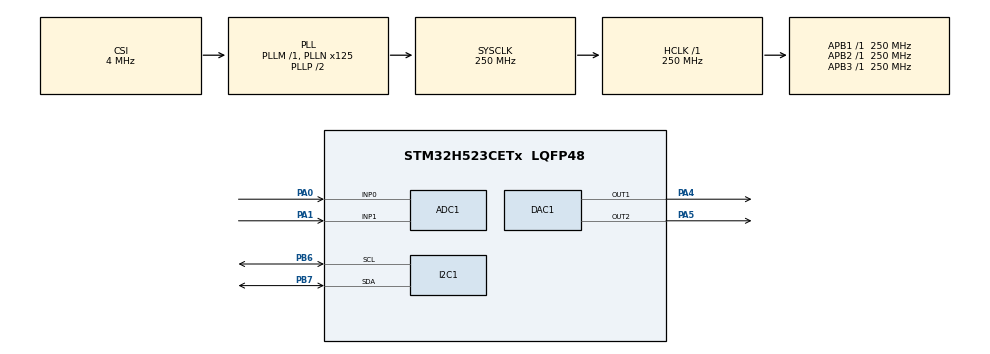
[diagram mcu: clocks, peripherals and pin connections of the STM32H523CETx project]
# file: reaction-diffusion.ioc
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ADC1.Channel-3\#ChannelRegularConversion=ADC_CHANNEL_1
ADC1.MonitoredBy-3\#ChannelRegularConversion=__NULL
ADC1.NbrOfConversionFlag=1
ADC1.OffsetNumber-3\#ChannelRegularConversion=ADC_OFFSET_NONE
ADC1.Rank-3\#ChannelRegularConversion=1
ADC1.SamplingTime-3\#ChannelRegularConversion=ADC_SAMPLETIME_2CYCLES_5
ADC1.master=1
BOOTPATH.BootPathName=LEGACY
BOOTPATH.UserSelectedBootPath=LEGACY
CORTEX_M33_NS.userName=CORTEX_M33
DAC1.DAC_Channel-DAC_OUT1_Ext=DAC_CHANNEL_1
DAC1.DAC_Channel-DAC_OUT2_Ext=DAC_CHANNEL_2
I2C1.Timing=0x60808CD3
Mcu.Family=STM32H5
Mcu.Name=STM32H523CETx
Mcu.Package=LQFP48
NVIC.PriorityGroup=NVIC_PRIORITYGROUP_4
NVIC.TIM6_IRQn=true\:0\:0\:false\:false\:true\:true\:true\:true
PA0.Signal=ADCx_INP0
PA1.Signal=ADCx_INP1
PA4.Signal=COMP_DAC11_group
PA5.Signal=COMP_DAC12_group
PB6.Mode=I2C
PB6.Signal=I2C1_SCL
PB7.Mode=I2C
PB7.Signal=I2C1_SDA
ProjectManager.HeapSize=0x200
ProjectManager.StackSize=0x400
ProjectManager.TargetToolchain=STM32CubeIDE
RCC.ADCFreq_Value=250000000
RCC.AHBFreq_Value=250000000
RCC.APB1Freq_Value=250000000
RCC.APB1TimFreq_Value=250000000
RCC.APB2Freq_Value=250000000
RCC.APB2TimFreq_Value=250000000
RCC.APB3Freq_Value=250000000
RCC.CSI_VALUE=4000000
RCC.CortexFreq_Value=250000000
RCC.DACLowPowerCLockSelection=RCC_DACLPCLKSOURCE_LSI
RCC.EPOD_VALUE=4000000
RCC.HCLKFreq_Value=250000000
RCC.HSE_VALUE=25000000
RCC.HSI48_VALUE=48000000
RCC.HSIDiv=RCC_HSI_DIV1
RCC.HSI_VALUE=64000000
RCC.LSE_VALUE=32768
RCC.LSIRC_VALUE=32000
RCC.PLLFRACN=0
RCC.PLLN=125
RCC.SYSCLKFreq_VALUE=250000000
RCC.SYSCLKSource=RCC_SYSCLKSOURCE_PLLCLK
RCC.USBFreq_Value=48000000
RCC.VCOOutputFreq_Value=500000000
SH.ADCx_INP0.0=ADC1_INP0,IN0-Single-Ended
SH.ADCx_INP1.0=ADC1_INP1,IN1-Single-Ended
SH.COMP_DAC11_group.0=DAC1_OUT1,DAC_OUT1_Ext
SH.COMP_DAC12_group.0=DAC1_OUT2,DAC_OUT2_Ext
TIM6.PeriodNoDither=4999
TIM6.Prescaler=249
VP_BOOTPATH_VS_BOOTPATH.Mode=BP_Activate
VP_CORTEX_M33_NS_VS_Hclk.Mode=Hclk_Mode
VP_MEMORYMAP_VS_MEMORYMAP.Mode=CurAppReg
VP_PWR_VS_LPOM.Mode=PowerOptimisation
VP_PWR_VS_SECSignals.Mode=Security/Privilege
VP_TIM6_VS_ClockSourceINT.Mode=Enable_Timer
board=custom

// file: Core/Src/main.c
/* USER CODE BEGIN Header */
/**
  ******************************************************************************
  * @file           : main.c
  * @brief          : Main program body
  ******************************************************************************
  * @attention
  *
  * Copyright (c) 2026 STMicroelectronics.
  * All rights reserved.
  *
  * This software is licensed under terms that can be found in the LICENSE file
  * in the root directory of this software component.
  * If no LICENSE file comes with this software, it is provided AS-IS.
  *
  ******************************************************************************
  */
/* USER CODE END Header */

#include "main.h"

/* USER CODE BEGIN Includes */
#include <math.h>
#include <stdlib.h>
#include <stdbool.h>
#include <stdint.h>
#include <stdio.h>
#include "rd_model.h"
#include "ssd1306.h"
#include "ssd1306_fonts.h"
/* USER CODE END Includes */

/* USER CODE BEGIN PD */
#define RD_GAIN_MV_PER_MV      (1200.0f)
#define RD_OFFSET_MV           (1700.0f)
#define VDDA_MV                (3300.0f)
#define DAC_BITS               (12)
#define DAC_MAX                ((1U << DAC_BITS) - 1U)
#define RD_BLOCK_MAX_SAMPLES   8192

#if defined(RD_SOLVER_RK4)
  #define RD_METHOD_STR "RK4"
#elif defined(RD_SOLVER_TUSTIN)
  #define RD_METHOD_STR "TUS"
#else
  #define RD_METHOD_STR "???"
#endif
/* USER CODE END PD */

ADC_HandleTypeDef hadc1;
DAC_HandleTypeDef hdac1;
I2C_HandleTypeDef hi2c1;
TIM_HandleTypeDef htim6;

/* USER CODE BEGIN PV */
static RDParams params;
static RDContext rdCtx;

/* two buffers */
static uint16_t *bufA = NULL;
static uint16_t *bufB = NULL;

/* playback side: ISR-owned */
static uint16_t * volatile playBuf = NULL;
static volatile int playLen = 0;
static volatile int playIndex = 0;

/* build side: main-loop-owned */
static uint16_t *buildBuf = NULL;
static int buildLen = 0;

/* flags */
static volatile bool block_wrap_flag = false;
static volatile bool build_request_flag = false;
static volatile bool swap_pending = false;
static volatile bool underrun_flag = false;

static uint16_t refDacCode = 0;

static int last_adc_sig = 0;
static int last_adc_ref = 0;
static int last_adc_diff = 0;

static uint32_t build_time_ms = 0;
static uint32_t blocks_built = 0;
/* USER CODE END PV */

void SystemClock_Config(void);
static void MX_GPIO_Init(void);
static void MX_ADC1_Init(void);
static void MX_DAC1_Init(void);
static void MX_I2C1_Init(void);
static void MX_TIM6_Init(void);

/* USER CODE BEGIN PFP */
static uint16_t rd_mv_to_dac(float mv);
static bool build_block_into_buffer(uint16_t *dst, int max_len, int *out_len);
static uint16_t read_adc_channel(uint32_t channel);
static void oled_show_build_info(void);
static void oled_show_error(const char *msg);
static const char* rd_solver_name(void);
void HAL_TIM_PeriodElapsedCallback(TIM_HandleTypeDef *htim);
/* USER CODE END PFP */

/* USER CODE BEGIN 0 */

static const char* rd_solver_name(void)
{
  return RD_METHOD_STR;
}

static uint16_t rd_mv_to_dac(float mv)
{
  float v_mv = RD_OFFSET_MV + RD_GAIN_MV_PER_MV * mv;

  if (v_mv < 0.0f) v_mv = 0.0f;
  if (v_mv > VDDA_MV) v_mv = VDDA_MV;

  int code = (int)lroundf((v_mv / VDDA_MV) * (float)DAC_MAX);
  if (code < 0) code = 0;
  if (code > (int)DAC_MAX) code = (int)DAC_MAX;
  return (uint16_t)code;
}

static bool build_block_into_buffer(uint16_t *dst, int max_len, int *out_len)
{
  float *rdBlockMv = NULL;
  int len = 0;

  if ((dst == NULL) || (out_len == NULL)) {
    return false;
  }

  if (!build_rd_block_mv(&params, &rdBlockMv, &len, &rdCtx)) {
    return false;
  }

  if ((len <= 0) || (len > max_len)) {
    if (rdBlockMv) free(rdBlockMv);
    return false;
  }

  for (int i = 0; i < len; i++) {
    if (!isfinite(rdBlockMv[i])) {
      free(rdBlockMv);
      return false;
    }
    dst[i] = rd_mv_to_dac(rdBlockMv[i]);
  }

  *out_len = len;
  free(rdBlockMv);
  return true;
}

static uint16_t read_adc_channel(uint32_t channel)
{
  ADC_ChannelConfTypeDef sConfig = {0};

  sConfig.Channel = channel;
  sConfig.Rank = ADC_REGULAR_RANK_1;
  sConfig.SamplingTime = ADC_SAMPLETIME_2CYCLES_5;
  sConfig.SingleDiff = ADC_SINGLE_ENDED;
  sConfig.OffsetNumber = ADC_OFFSET_NONE;
  sConfig.Offset = 0;

  if (HAL_ADC_ConfigChannel(&hadc1, &sConfig) != HAL_OK) {
    Error_Handler();
  }

  if (HAL_ADC_Start(&hadc1) != HAL_OK) {
    Error_Handler();
  }

  if (HAL_ADC_PollForConversion(&hadc1, 10) != HAL_OK) {
    Error_Handler();
  }

  uint16_t val = (uint16_t)HAL_ADC_GetValue(&hadc1);

  if (HAL_ADC_Stop(&hadc1) != HAL_OK) {
    Error_Handler();
  }

  return val;
}

static void oled_show_build_info(void)
{
  char line[32];
  uint32_t sysclk_mhz;
  uint32_t hclk_mhz;
  uint32_t pclk1_mhz;

  SystemCoreClockUpdate();
  sysclk_mhz = SystemCoreClock / 1000000UL;
  hclk_mhz   = HAL_RCC_GetHCLKFreq() / 1000000UL;
  pclk1_mhz  = HAL_RCC_GetPCLK1Freq() / 1000000UL;

  ssd1306_Fill(Black);

  ssd1306_SetCursor(0, 0);
  snprintf(line, sizeof(line), "SYS:%3lu H:%3lu",
           (unsigned long)sysclk_mhz,
           (unsigned long)hclk_mhz);
  ssd1306_WriteString(line, Font_7x10, White);

  ssd1306_SetCursor(0, 16);
  snprintf(line, sizeof(line), "P1:%3lu B:%4lu",
           (unsigned long)pclk1_mhz,
           (unsigned long)build_time_ms);
  ssd1306_WriteString(line, Font_7x10, White);

  ssd1306_SetCursor(0, 32);
  snprintf(line, sizeof(line), "Len:%d", (int)playLen);
  ssd1306_WriteString(line, Font_7x10, White);

  ssd1306_SetCursor(0, 48);
  snprintf(line, sizeof(line), "Blk:%lu %s",
		  (unsigned long)blocks_built,
		  rd_solver_name());
  ssd1306_WriteString(line, Font_7x10, White);

  ssd1306_UpdateScreen();
}

static void oled_show_error(const char *msg)
{
  ssd1306_Fill(Black);
  ssd1306_SetCursor(0, 0);
  ssd1306_WriteString("ERROR", Font_7x10, White);
  ssd1306_SetCursor(0, 16);
  ssd1306_WriteString((char*)msg, Font_7x10, White);
  ssd1306_UpdateScreen();
}

void HAL_TIM_PeriodElapsedCallback(TIM_HandleTypeDef *htim)
{
  if (htim->Instance == TIM6)
  {
    if ((playBuf != NULL) && (playLen > 0))
    {
      if (HAL_DAC_SetValue(&hdac1, DAC_CHANNEL_2, DAC_ALIGN_12B_R, playBuf[playIndex]) != HAL_OK) {
        Error_Handler();
      }

      playIndex++;
      if (playIndex >= playLen) {
        playIndex = 0;
        block_wrap_flag = true;

        if (swap_pending) {
          uint16_t *oldPlay = (uint16_t *)playBuf;
          int oldLen = playLen;

          playBuf = buildBuf;
          playLen = buildLen;

          buildBuf = oldPlay;
          buildLen = oldLen;

          swap_pending = false;
          build_request_flag = true;
        } else {
          underrun_flag = true;
        }
      }
    }
  }
}

/* USER CODE END 0 */

int main(void)
{
  /* USER CODE BEGIN 1 */
  char line[32];
  /* USER CODE END 1 */

  HAL_Init();
  SystemClock_Config();

  MX_GPIO_Init();
  MX_ADC1_Init();
  MX_DAC1_Init();
  MX_I2C1_Init();
  MX_TIM6_Init();

  /* USER CODE BEGIN 2 */
  HAL_Delay(100);
  ssd1306_Init();

  ssd1306_Fill(Black);
  ssd1306_SetCursor(0, 0);
  snprintf(line, sizeof(line), "Building %s...", rd_solver_name());
  ssd1306_WriteString(line, Font_7x10, White);
  ssd1306_UpdateScreen();

  rd_init_default_params(&params);

  if (!rd_init(&params, &rdCtx)) {
    oled_show_error("RD init fail");
    Error_Handler();
  }

  bufA = (uint16_t*)malloc(RD_BLOCK_MAX_SAMPLES * sizeof(uint16_t));
  bufB = (uint16_t*)malloc(RD_BLOCK_MAX_SAMPLES * sizeof(uint16_t));
  if ((bufA == NULL) || (bufB == NULL)) {
    oled_show_error("Buf alloc fail");
    Error_Handler();
  }

  uint32_t t0 = HAL_GetTick();

  int firstLen = 0;

  if (!build_block_into_buffer(bufA, RD_BLOCK_MAX_SAMPLES, &firstLen)) {
    oled_show_error("Build A fail");
    Error_Handler();
  }
  playLen = firstLen;

  if (!build_block_into_buffer(bufB, RD_BLOCK_MAX_SAMPLES, &buildLen)) {
    oled_show_error("Build B fail");
    Error_Handler();
  }

  build_time_ms = HAL_GetTick() - t0;
  blocks_built = 2;

  playBuf = bufA;
  buildBuf = bufB;
  playIndex = 0;
  swap_pending = true;
  build_request_flag = false;
  block_wrap_flag = false;
  underrun_flag = false;

  oled_show_build_info();

  if (HAL_DAC_Start(&hdac1, DAC_CHANNEL_1) != HAL_OK) {
    oled_show_error("DAC1 CH1 fail");
    Error_Handler();
  }

  if (HAL_DAC_Start(&hdac1, DAC_CHANNEL_2) != HAL_OK) {
    oled_show_error("DAC1 CH2 fail");
    Error_Handler();
  }

  refDacCode = rd_mv_to_dac(0.0f);

  if (HAL_DAC_SetValue(&hdac1, DAC_CHANNEL_1, DAC_ALIGN_12B_R, refDacCode) != HAL_OK) {
    oled_show_error("Set DAC ref fail");
    Error_Handler();
  }

  if (HAL_DAC_SetValue(&hdac1, DAC_CHANNEL_2, DAC_ALIGN_12B_R, playBuf[0]) != HAL_OK) {
    oled_show_error("Set DAC sig fail");
    Error_Handler();
  }

  if (HAL_TIM_Base_Start_IT(&htim6) != HAL_OK) {
    oled_show_error("TIM6 start fail");
    Error_Handler();
  }
  /* USER CODE END 2 */

  /* Infinite loop */
  while (1)
  {
    bool do_wrap = false;
    bool do_build = false;
    bool do_underrun = false;

    __disable_irq();
    do_wrap = block_wrap_flag;
    block_wrap_flag = false;

    do_build = build_request_flag && !swap_pending;
    if (do_build) {
      build_request_flag = false;
    }

    do_underrun = underrun_flag;
    underrun_flag = false;
    __enable_irq();

    if (do_wrap)
    {
      last_adc_sig  = (int)read_adc_channel(ADC_CHANNEL_1);
      last_adc_ref  = (int)read_adc_channel(ADC_CHANNEL_2);
      last_adc_diff = last_adc_sig - last_adc_ref;
    }

    if (do_build)
    {
      if (!build_block_into_buffer(buildBuf, RD_BLOCK_MAX_SAMPLES, &buildLen)) {
        oled_show_error("Rebuild fail");
        Error_Handler();
      }

      blocks_built++;

      __disable_irq();
      swap_pending = true;
      __enable_irq();

      oled_show_build_info();
    }

    if (do_underrun)
    {
      oled_show_error("UNDERRUN");
      Error_Handler();
    }
  }
}

void SystemClock_Config(void)
{
  RCC_OscInitTypeDef RCC_OscInitStruct = {0};
  RCC_ClkInitTypeDef RCC_ClkInitStruct = {0};

  __HAL_PWR_VOLTAGESCALING_CONFIG(PWR_REGULATOR_VOLTAGE_SCALE0);
  while(!__HAL_PWR_GET_FLAG(PWR_FLAG_VOSRDY)) {}

  RCC_OscInitStruct.OscillatorType = RCC_OSCILLATORTYPE_LSI|RCC_OSCILLATORTYPE_CSI;
  RCC_OscInitStruct.LSIState = RCC_LSI_ON;
  RCC_OscInitStruct.CSIState = RCC_CSI_ON;
  RCC_OscInitStruct.CSICalibrationValue = RCC_CSICALIBRATION_DEFAULT;
  RCC_OscInitStruct.PLL.PLLState = RCC_PLL_ON;
  RCC_OscInitStruct.PLL.PLLSource = RCC_PLL1_SOURCE_CSI;
  RCC_OscInitStruct.PLL.PLLM = 1;
  RCC_OscInitStruct.PLL.PLLN = 125;
  RCC_OscInitStruct.PLL.PLLP = 2;
  RCC_OscInitStruct.PLL.PLLQ = 2;
  RCC_OscInitStruct.PLL.PLLR = 2;
  RCC_OscInitStruct.PLL.PLLRGE = RCC_PLL1_VCIRANGE_2;
  RCC_OscInitStruct.PLL.PLLVCOSEL = RCC_PLL1_VCORANGE_WIDE;
  RCC_OscInitStruct.PLL.PLLFRACN = 0;
  if (HAL_RCC_OscConfig(&RCC_OscInitStruct) != HAL_OK)
  {
    Error_Handler();
  }

  RCC_ClkInitStruct.ClockType = RCC_CLOCKTYPE_HCLK|RCC_CLOCKTYPE_SYSCLK
                              |RCC_CLOCKTYPE_PCLK1|RCC_CLOCKTYPE_PCLK2
                              |RCC_CLOCKTYPE_PCLK3;
  RCC_ClkInitStruct.SYSCLKSource = RCC_SYSCLKSOURCE_PLLCLK;
  RCC_ClkInitStruct.AHBCLKDivider = RCC_SYSCLK_DIV1;
  RCC_ClkInitStruct.APB1CLKDivider = RCC_HCLK_DIV1;
  RCC_ClkInitStruct.APB2CLKDivider = RCC_HCLK_DIV1;
  RCC_ClkInitStruct.APB3CLKDivider = RCC_HCLK_DIV1;

  if (HAL_RCC_ClockConfig(&RCC_ClkInitStruct, FLASH_LATENCY_5) != HAL_OK)
  {
    Error_Handler();
  }

  __HAL_FLASH_SET_PROGRAM_DELAY(FLASH_PROGRAMMING_DELAY_2);
}

static void MX_ADC1_Init(void)
{
  ADC_ChannelConfTypeDef sConfig = {0};

  hadc1.Instance = ADC1;
  hadc1.Init.ClockPrescaler = ADC_CLOCK_ASYNC_DIV4;
  hadc1.Init.Resolution = ADC_RESOLUTION_12B;
  hadc1.Init.DataAlign = ADC_DATAALIGN_RIGHT;
  hadc1.Init.ScanConvMode = ADC_SCAN_DISABLE;
  hadc1.Init.EOCSelection = ADC_EOC_SINGLE_CONV;
  hadc1.Init.LowPowerAutoWait = DISABLE;
  hadc1.Init.ContinuousConvMode = DISABLE;
  hadc1.Init.NbrOfConversion = 1;
  hadc1.Init.DiscontinuousConvMode = DISABLE;
  hadc1.Init.ExternalTrigConv = ADC_SOFTWARE_START;
  hadc1.Init.ExternalTrigConvEdge = ADC_EXTERNALTRIGCONVEDGE_NONE;
  hadc1.Init.DMAContinuousRequests = DISABLE;
  hadc1.Init.SamplingMode = ADC_SAMPLING_MODE_NORMAL;
  hadc1.Init.Overrun = ADC_OVR_DATA_PRESERVED;
  hadc1.Init.OversamplingMode = DISABLE;
  if (HAL_ADC_Init(&hadc1) != HAL_OK)
  {
    Error_Handler();
  }

  sConfig.Channel = ADC_CHANNEL_1;
  sConfig.Rank = ADC_REGULAR_RANK_1;
  sConfig.SamplingTime = ADC_SAMPLETIME_2CYCLES_5;
  sConfig.SingleDiff = ADC_SINGLE_ENDED;
  sConfig.OffsetNumber = ADC_OFFSET_NONE;
  sConfig.Offset = 0;
  if (HAL_ADC_ConfigChannel(&hadc1, &sConfig) != HAL_OK)
  {
    Error_Handler();
  }
}

static void MX_DAC1_Init(void)
{
  DAC_ChannelConfTypeDef sConfig = {0};

  hdac1.Instance = DAC1;
  if (HAL_DAC_Init(&hdac1) != HAL_OK)
  {
    Error_Handler();
  }

  sConfig.DAC_HighFrequency = DAC_HIGH_FREQUENCY_INTERFACE_MODE_DISABLE;
  sConfig.DAC_DMADoubleDataMode = DISABLE;
  sConfig.DAC_SignedFormat = DISABLE;
  sConfig.DAC_SampleAndHold = DAC_SAMPLEANDHOLD_DISABLE;
  sConfig.DAC_Trigger = DAC_TRIGGER_NONE;
  sConfig.DAC_ConnectOnChipPeripheral = DAC_CHIPCONNECT_EXTERNAL;
  sConfig.DAC_UserTrimming = DAC_TRIMMING_FACTORY;
  if (HAL_DAC_ConfigChannel(&hdac1, &sConfig, DAC_CHANNEL_1) != HAL_OK)
  {
    Error_Handler();
  }

  sConfig.DAC_OutputBuffer = DAC_OUTPUTBUFFER_ENABLE;
  if (HAL_DAC_ConfigChannel(&hdac1, &sConfig, DAC_CHANNEL_2) != HAL_OK)
  {
    Error_Handler();
  }
}

static void MX_I2C1_Init(void)
{
  hi2c1.Instance = I2C1;
  hi2c1.Init.Timing = 0x60808CD3;
  hi2c1.Init.OwnAddress1 = 0;
  hi2c1.Init.AddressingMode = I2C_ADDRESSINGMODE_7BIT;
  hi2c1.Init.DualAddressMode = I2C_DUALADDRESS_DISABLE;
  hi2c1.Init.OwnAddress2 = 0;
  hi2c1.Init.OwnAddress2Masks = I2C_OA2_NOMASK;
  hi2c1.Init.GeneralCallMode = I2C_GENERALCALL_DISABLE;
  hi2c1.Init.NoStretchMode = I2C_NOSTRETCH_DISABLE;
  if (HAL_I2C_Init(&hi2c1) != HAL_OK)
  {
    Error_Handler();
  }

  if (HAL_I2CEx_ConfigAnalogFilter(&hi2c1, I2C_ANALOGFILTER_ENABLE) != HAL_OK)
  {
    Error_Handler();
  }

  if (HAL_I2CEx_ConfigDigitalFilter(&hi2c1, 0) != HAL_OK)
  {
    Error_Handler();
  }
}

static void MX_TIM6_Init(void)
{
  TIM_MasterConfigTypeDef sMasterConfig = {0};

  htim6.Instance = TIM6;
  htim6.Init.Prescaler = 249;
  htim6.Init.CounterMode = TIM_COUNTERMODE_UP;
  htim6.Init.Period = 4999;
  htim6.Init.AutoReloadPreload = TIM_AUTORELOAD_PRELOAD_DISABLE;
  if (HAL_TIM_Base_Init(&htim6) != HAL_OK)
  {
    Error_Handler();
  }
  sMasterConfig.MasterOutputTrigger = TIM_TRGO_RESET;
  sMasterConfig.MasterSlaveMode = TIM_MASTERSLAVEMODE_DISABLE;
  if (HAL_TIMEx_MasterConfigSynchronization(&htim6, &sMasterConfig) != HAL_OK)
  {
    Error_Handler();
  }
}

static void MX_GPIO_Init(void)
{
  __HAL_RCC_GPIOA_CLK_ENABLE();
  __HAL_RCC_GPIOB_CLK_ENABLE();
}

void Error_Handler(void)
{
  __disable_irq();
  while (1)
  {
  }
}
